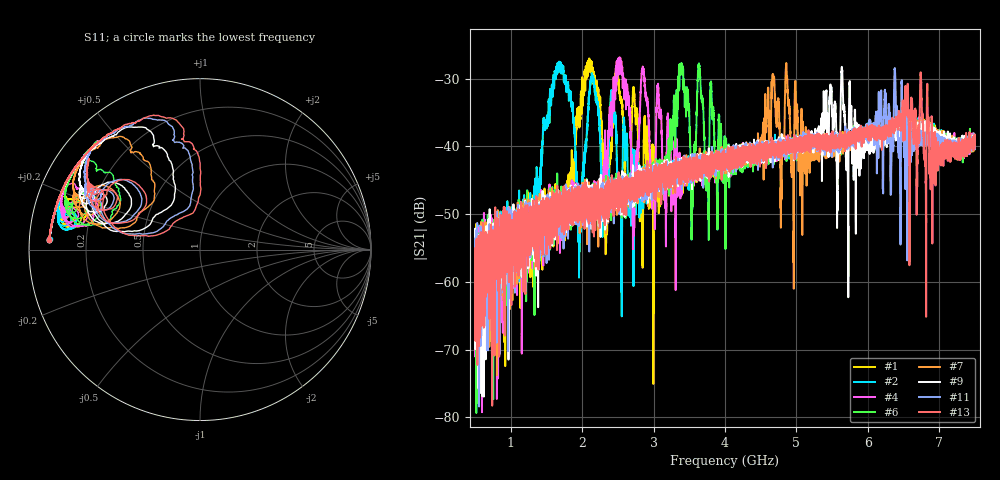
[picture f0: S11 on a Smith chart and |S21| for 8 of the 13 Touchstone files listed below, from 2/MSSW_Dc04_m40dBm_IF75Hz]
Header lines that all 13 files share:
!Keysight Technologies,M9374A,MY55442783,A.12.55.05
!Correction: S11(Full 2 Port(1,2))
!S21(Full 2 Port(1,2))
!S12(Full 2 Port(1,2))
!S22(Full 2 Port(1,2))
!S2P File: Measurements: S11, S21, S12, S22:
# Hz S  RI  R 50
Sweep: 500 MHz to 7.5 GHz
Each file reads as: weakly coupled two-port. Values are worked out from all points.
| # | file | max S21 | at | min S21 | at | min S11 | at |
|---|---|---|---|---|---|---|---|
| 1 | MSSW_Dc04_0.5.s2p | -27.00 dB | 2.1 GHz | -77.8 dB | 526 MHz | -3.2 dB | 2.092 GHz |
| 2 | MSSW_Dc04_0.s2p | -27.48 dB | 1.678 GHz | -71.8 dB | 522 MHz | -2.6 dB | 1.672 GHz |
| 3 | MSSW_Dc04_1.5.s2p | -26.94 dB | 2.961 GHz | -72.8 dB | 541 MHz | -4.5 dB | 2.949 GHz |
| 4 | MSSW_Dc04_1.s2p | -26.84 dB | 2.524 GHz | -79.2 dB | 598 MHz | -3.9 dB | 2.524 GHz |
| 5 | MSSW_Dc04_2.5.s2p | -27.75 dB | 4.047 GHz | -78.3 dB | 705 MHz | -6.1 dB | 3.82 GHz |
| 6 | MSSW_Dc04_2.s2p | -27.72 dB | 3.394 GHz | -79.3 dB | 519 MHz | -5.3 dB | 3.384 GHz |
| 7 | MSSW_Dc04_3.5.s2p | -27.69 dB | 4.858 GHz | -73.8 dB | 808 MHz | -8.2 dB | 4.671 GHz |
| 8 | MSSW_Dc04_3.s2p | -27.62 dB | 4.458 GHz | -84.4 dB | 4.57 GHz | -7.1 dB | 4.253 GHz |
| 9 | MSSW_Dc04_4.5.s2p | -28.26 dB | 5.636 GHz | -76.9 dB | 623 MHz | -10.3 dB | 5.475 GHz |
| 10 | MSSW_Dc04_4.s2p | -28.02 dB | 5.252 GHz | -83.6 dB | 988 MHz | -9.2 dB | 5.08 GHz |
| 11 | MSSW_Dc04_5.5.s2p | -28.44 dB | 6.378 GHz | -78.4 dB | 557 MHz | -12.3 dB | 6.238 GHz |
| 12 | MSSW_Dc04_5.s2p | -28.25 dB | 6.006 GHz | -79.4 dB | 507 MHz | -11.4 dB | 5.858 GHz |
| 13 | MSSW_Dc04_6.s2p | -29.06 dB | 6.739 GHz | -78.3 dB | 741 MHz | -13.5 dB | 6.609 GHz |
